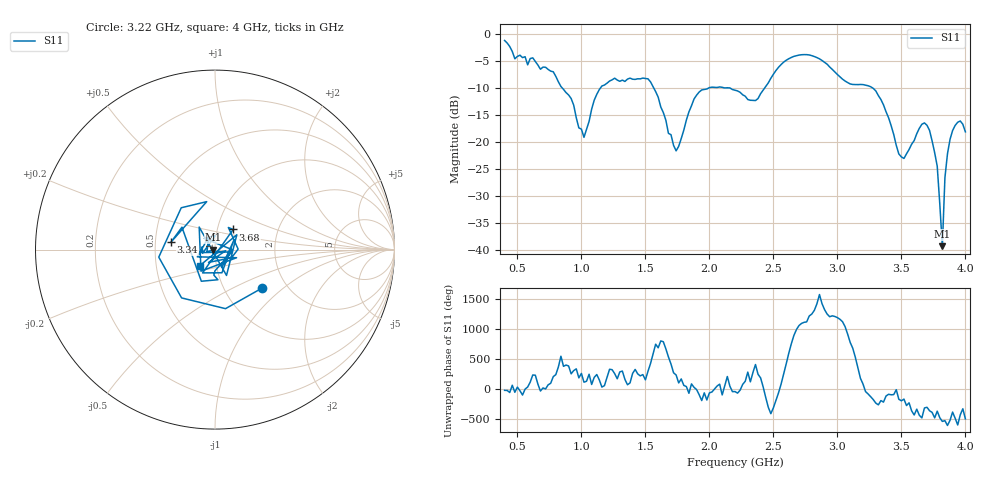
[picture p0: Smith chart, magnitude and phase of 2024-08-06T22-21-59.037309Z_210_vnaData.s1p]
!Created with skrf (http://scikit-rf.org).
# Hz S RI R 50.0
!freq ReS11 ImS11
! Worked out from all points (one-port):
!   181 points, 400 MHz to 4 GHz, reference 50 ohm
!   lowest |S11| = -39.2 dB at 3.82 GHz (marker M1), VSWR 1.02, Z = 48.9 - j0.0769 ohm
!   |S11| at or under -10 dB: 852.9 MHz to 1.147 GHz (293.8 MHz wide, 29.4 % of centre); 1.567 GHz to 1.989 GHz (422.6 MHz wide, 23.8 % of centre); 3.28 GHz to end of sweep (the widest 3 of 4)
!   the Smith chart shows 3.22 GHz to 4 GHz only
!   S11 on the Smith chart (normalised r, x): 3.22 GHz: 1.50, -0.73; 3.34 GHz: 0.60, +0.05; 3.68 GHz: 1.19, +0.27; 4 GHz: 0.83, -0.15
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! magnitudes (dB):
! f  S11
! 400 MHz  -1.1
! 480 MHz  -4.5
! 620 MHz  -4.4
! 860 MHz  -10.2
! 1.02 GHz  -19.1
! 1.14 GHz  -10.2
! 1.3 GHz  -8.7
! 1.52 GHz  -8.2
! 1.72 GHz  -20.6
! 1.76 GHz  -20.7
! 1.92 GHz  -10.7
! 2.2 GHz  -10.3
! 2.36 GHz  -12.3
! 2.66 GHz  -4.1
! 2.86 GHz  -4.5
! 3.1 GHz  -9.2
! 3.22 GHz  -9.4
! 3.34 GHz  -12.1
! 3.48 GHz  -22.2
! 3.56 GHz  -21.3
! 3.68 GHz  -16.4
! 3.72 GHz  -17.8
! 3.78 GHz  -24.4
! 3.82 GHz  -39.2
! 3.84 GHz  -26.6
! 3.88 GHz  -19.4
! 3.94 GHz  -16.3
! 4 GHz  -18.1
